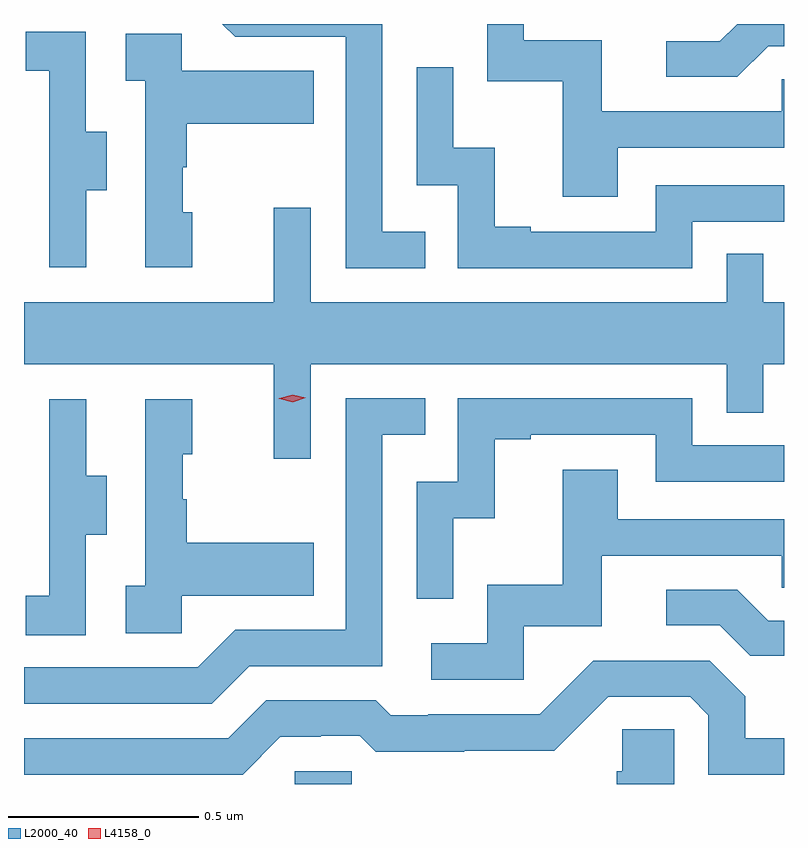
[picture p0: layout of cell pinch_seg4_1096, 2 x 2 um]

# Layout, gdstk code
import gdstk
lib = gdstk.Library(unit=1e-6, precision=1e-09)
def R(c, l, rs):  # rectangles x0, y0, x1, y1
    for r in rs: c.add(gdstk.rectangle(r[:2], r[2:], *l))
def P(c, l, *ps):  # polygons
    for p in ps: c.add(gdstk.Polygon(p, *l))
L2000_40 = (2000, 40)
L4158_0 = (4158, 0)

pinch_seg4_1096 = lib.new_cell('pinch_seg4_1096')
R(pinch_seg4_1096, L2000_40, [(877.653,749.096,877.803,749.13)])
P(pinch_seg4_1096, L2000_40, [(878.899,751.038),(878.941,751.038),(878.941,751.096),(878.818,751.096),(878.772,751.05),(878.631,751.05),(878.631,750.957),(878.818,750.957)],
  [(877.997,750.549),(877.884,750.549),(877.884,751.096),(877.463,751.096),(877.497,751.062),(877.788,751.062),(877.788,750.453),(877.997,750.453)],
  [(878.503,750.771),(878.941,750.771),(878.941,750.951),(878.935,750.951),(878.935,750.867),(878.461,750.867),(878.461,751.053),(878.256,751.053),(878.256,751.096),(878.16,751.096),(878.16,750.945),(878.359,750.945),(878.359,750.642),(878.503,750.642)],
  [(877.105,750.658),(877.159,750.658),(877.159,750.813),(877.104,750.813),(877.104,751.076),(876.945,751.076),(876.945,750.973),(877.008,750.973),(877.008,750.669),(877.007,750.669),(877.007,750.456),(877.105,750.456)],
  [(877.384,750.6),(877.359,750.6),(877.359,750.719),(877.369,750.719),(877.369,750.833),(877.703,750.833),(877.703,750.973),(877.356,750.973),(877.356,751.071),(877.209,751.071),(877.209,750.947),(877.26,750.947),(877.26,750.456),(877.384,750.456)],
  [(878.7,750.576),(878.941,750.576),(878.941,750.672),(878.604,750.672),(878.604,750.549),(878.275,750.549),(878.275,750.562),(878.18,750.562),(878.18,750.77),(878.07,750.77),(878.07,750.982),(877.974,750.982),(877.974,750.672),(878.082,750.672),(878.082,750.453),(878.7,750.453)],
  [(878.79,750.491),(878.79,750.364),(877.695,750.364),(877.695,750.613),(877.598,750.613),(877.598,750.364),(876.941,750.364),(876.941,750.2),(877.598,750.2),(877.598,749.952),(877.695,749.952),(877.695,750.2),(878.79,750.2),(878.79,750.073),(878.886,750.073),(878.886,750.2),(878.941,750.2),(878.941,750.364),(878.886,750.364),(878.886,750.491)],
  [(877.534,749.406),(877.884,749.406),(877.884,750.015),(877.997,750.015),(877.997,750.111),(877.788,750.111),(877.788,749.502),(877.497,749.502),(877.398,749.403),(876.941,749.403),(876.941,749.307),(877.435,749.307)],
  [(878.07,749.795),(878.18,749.795),(878.18,750.003),(878.275,750.003),(878.275,750.015),(878.604,750.015),(878.604,749.892),(878.941,749.892),(878.941,749.988),(878.7,749.988),(878.7,750.111),(878.082,750.111),(878.082,749.892),(877.974,749.892),(877.974,749.583),(878.07,749.583)],
  [(877.104,749.752),(877.159,749.752),(877.159,749.907),(877.105,749.907),(877.105,750.109),(877.007,750.109),(877.007,749.895),(877.008,749.895),(877.008,749.591),(876.945,749.591),(876.945,749.488),(877.104,749.488)],
  [(877.356,749.591),(877.703,749.591),(877.703,749.731),(877.369,749.731),(877.369,749.846),(877.359,749.846),(877.359,749.964),(877.384,749.964),(877.384,750.109),(877.26,750.109),(877.26,749.618),(877.209,749.618),(877.209,749.493),(877.356,749.493)],
  [(878.256,749.511),(878.461,749.511),(878.461,749.697),(878.935,749.697),(878.935,749.613),(878.941,749.613),(878.941,749.793),(878.503,749.793),(878.503,749.923),(878.359,749.923),(878.359,749.62),(878.16,749.62),(878.16,749.466),(878.013,749.466),(878.013,749.37),(878.256,749.37)],
  [(878.941,749.526),(878.899,749.526),(878.818,749.607),(878.631,749.607),(878.631,749.514),(878.772,749.514),(878.852,749.434),(878.941,749.434)],
  [(877.615,749.22),(877.722,749.22),(877.722,749.223),(877.825,749.223),(877.867,749.181),(878.1,749.181),(878.1,749.183),(878.336,749.183),(878.478,749.325),(878.694,749.325),(878.742,749.277),(878.742,749.121),(878.941,749.121),(878.941,749.217),(878.839,749.217),(878.839,749.327),(878.745,749.421),(878.439,749.421),(878.298,749.28),(878.005,749.28),(878.005,749.277),(877.906,749.277),(877.867,749.316),(877.578,749.316),(877.479,749.217),(876.941,749.217),(876.941,749.121),(877.516,749.121)],
  [(878.652,749.24),(878.515,749.24),(878.515,749.13),(878.501,749.13),(878.501,749.096),(878.652,749.096)])
P(pinch_seg4_1096, L4158_0, [(877.648,750.101),(877.613,750.11),(877.612,750.11),(877.613,750.111),(877.648,750.121),(877.683,750.112),(877.683,750.112),(877.683,750.112)])

lib.write_gds('pinch_seg4_1096.gds')
